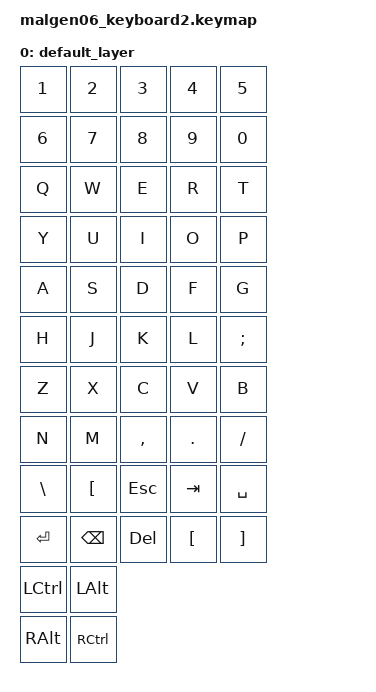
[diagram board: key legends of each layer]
#include <behaviors.dtsi>
#include <dt-bindings/zmk/keys.h>

/ {
    keymap {
        compatible = "zmk,keymap";

        default_layer {
            bindings = <
                // Row 0
                &kp N1  &kp N2  &kp N3  &kp N4  &kp N5
                &kp N6  &kp N7  &kp N8  &kp N9  &kp N0

                // Row 1
                &kp Q   &kp W   &kp E   &kp R   &kp T
                &kp Y   &kp U   &kp I   &kp O   &kp P

                // Row 2
                &kp A   &kp S   &kp D   &kp F   &kp G
                &kp H   &kp J   &kp K   &kp L   &kp SEMI

                // Row 3
                &kp Z   &kp X   &kp C   &kp V   &kp B
                &kp N   &kp M   &kp COMMA &kp DOT &kp FSLH

                // Row 4
                // Left bottom keys     Left thumbs
                &kp BSLH &kp LBKT       &kp ESC &kp TAB &kp SPACE

                // Right thumbs                   Right bottom keys
                &kp ENTER &kp BSPC &kp DEL        &kp LBKT &kp RBKT

                // Row 5 - lower thumb keys
                &kp LCTRL &kp LALT
                &kp RALT  &kp RCTRL
            >;
        };
    };
};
